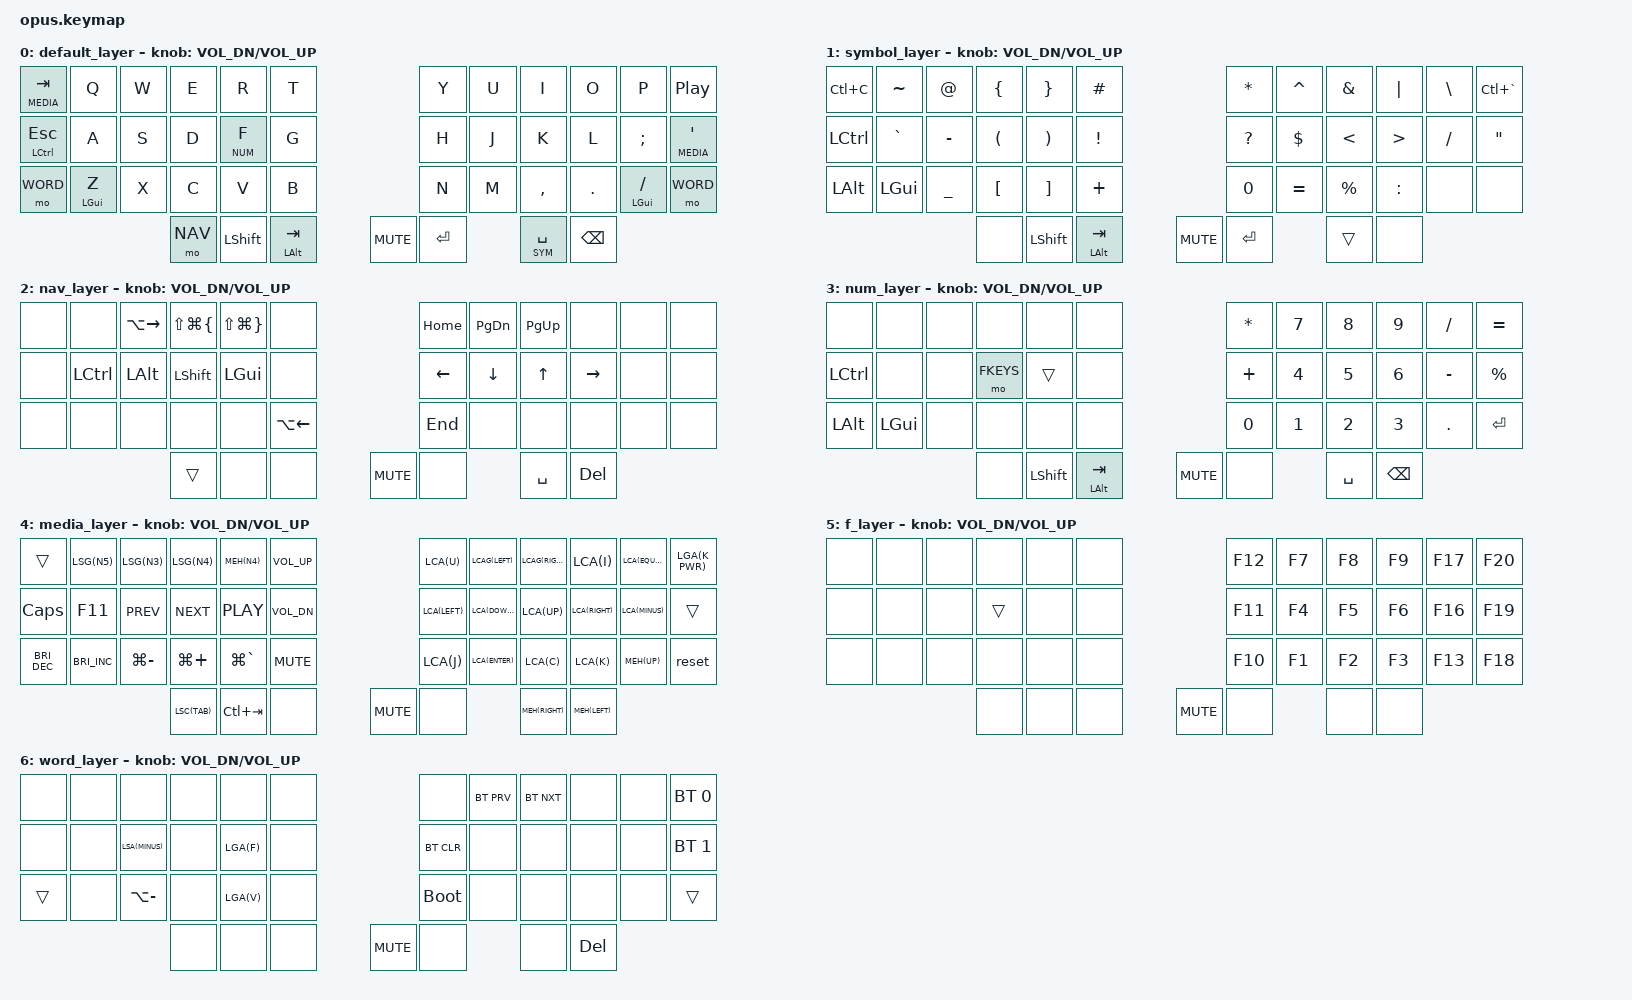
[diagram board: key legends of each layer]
/*
 * Copyright (c) 2020 The ZMK Contributors
 *
 * SPDX-License-Identifier: MIT
 */

#include <behaviors.dtsi>
#include <dt-bindings/zmk/keys.h>
#include <dt-bindings/zmk/bt.h>

#define BASE  0
#define SYM   1
#define NAV   2
#define NUM   3
#define MEDIA 4
#define FKEYS 5
#define WORD  6

// Modifiers
#define LSG(KEY)  LS(LG(KEY))     // shift + gui
#define LSC(KEY)  LS(LC(KEY))     // shift + ctrl
#define LSA(KEY)  LS(LA(KEY))     // shift + alt
#define LCA(KEY)  LC(LA(KEY))     // ctrl + alt
#define LGA(KEY)  LG(LA(KEY))     // gui + alt
#define MEH(KEY)  LS(LC(LA(KEY))) // shift + ctrl + alt
#define LCAG(KEY) LG(LC(LA(KEY))) // ctrl + alt + gui

// Grammar
#define EM_DASH LSA(MINUS)
#define EN_DASH LA(MINUS)
#define COMP_MODE LGA(F)
#define PASTE_STYLE LGA(V)

/ {
    keymap {
        compatible = "zmk,keymap";

        default_layer {
// ---------------------------------------------------------------------------------------------------------------------------------
// |  TAB    |  Q  |  W  |  E   |  R   |  T   |                                          |  Y   |  U    |  I    |  O   |   P   | PLAY |
// | CTL/ESC |  A  |  S  |  D   |  F   |  G   |                                          |  H   |  J    |  K    |  L   |   ;   |   '  |
// |  WORD   |  Z  |  X  |  C   |  V   |  B   |                                          |  N   |  M    |  ,    |  .   |   /   | WORD |
//                                     | NAV  | SHIFT | ALT/TAB  |     | ENTER  | SPACE  | BSPC |
            bindings = <
    &lt MEDIA TAB  &kp Q       &kp W  &kp E  &kp R      &kp T                       &kp Y  &kp U  &kp I      &kp O    &kp P           &kp C_PLAY_PAUSE
    &mt LCTRL ESC  &kp A       &kp S  &kp D  &lt NUM F  &kp G                       &kp H  &kp J  &kp K      &kp L    &kp SEMI        &lt MEDIA SINGLE_QUOTE
    &mo WORD       &mt LGUI Z  &kp X  &kp C  &kp V      &kp B                       &kp N  &kp M  &kp COMMA  &kp DOT  &mt LGUI SLASH  &mo WORD
                                    &mo NAV  &kp LSHFT  &mt LALT TAB   &kp C_MUTE   &kp ENTER  &lt SYM SPACE  &kp BSPC
            >;
            sensor-bindings = <&inc_dec_kp C_VOL_DN C_VOL_UP>;
        };

        symbol_layer {
            bindings = <
    &kp LC(C)  &kp TILDE  &kp AT     &kp LBRC  &kp RBRC  &kp HASH                   &kp STAR   &kp CARET  &kp AMPS   &kp PIPE   &kp BSLH   &kp LC(GRAVE)
    &kp LCTRL  &kp GRAVE   &kp MINUS  &kp LPAR  &kp RPAR  &kp EXCL                   &kp QMARK  &kp DLLR   &kp LT     &kp GT     &kp SLASH  &kp DOUBLE_QUOTES
    &kp LALT   &kp LGUI   &kp UNDER  &kp LBKT  &kp RBKT  &kp PLUS                   &kp N0     &kp EQUAL  &kp PRCNT  &kp COLON  &none      &none
                                        &none &kp LSHFT &mt LALT TAB   &kp C_MUTE   &kp ENTER  &trans  &none
            >;
            sensor-bindings = <&inc_dec_kp C_VOL_DN C_VOL_UP>;
        };

        nav_layer {
            bindings = <
    &none  &none      &kp LA(RIGHT)  &kp LS(LG(LBRC))  &kp LS(LG(RBRC))  &none                        &kp HOME  &kp PG_DN  &kp PG_UP  &none      &none  &none
    &none  &kp LCTRL  &kp LALT       &kp LSHFT         &kp LGUI          &none                        &kp LEFT  &kp DOWN  &kp UP    &kp RIGHT  &none  &none
    &none  &none      &none          &none             &none             &kp LA(LEFT)                 &kp END   &none     &none     &none      &none  &none
                                                                    &trans &none &none   &kp C_MUTE   &none  &kp SPACE  &kp DEL
            >;
            sensor-bindings = <&inc_dec_kp C_VOL_DN C_VOL_UP>;
        };

        num_layer {
            bindings = <
    &none     &none    &none &none     &none  &none                 &kp STAR  &kp N7  &kp N8  &kp N9  &kp SLASH  &kp EQUAL
    &kp LCTRL &none    &none &mo FKEYS &trans &none                 &kp PLUS  &kp N4  &kp N5  &kp N6  &kp MINUS  &kp PRCNT
    &kp LALT  &kp LGUI &none &none     &none  &none                 &kp N0    &kp N1  &kp N2  &kp N3  &kp DOT    &kp ENTER
                        &none &kp LSHFT &mt LALT TAB   &kp C_MUTE   &none   &kp SPACE  &kp BSPC
            >;
            sensor-bindings = <&inc_dec_kp C_VOL_DN C_VOL_UP>;
        };

        media_layer {
            bindings = <
    &trans         &kp LSG(N5)    &kp LSG(N3)    &kp LSG(N4)   &kp MEH(N4)   &kp C_VOL_UP                 &kp LCA(U)     &kp LCAG(LEFT)  &kp LCAG(RIGHT)  &kp LCA(I)      &kp LCA(EQUAL)  &kp LGA(K_PWR)
    &kp CAPS       &kp F11        &kp C_PREV     &kp C_NEXT    &kp C_PLAY    &kp C_VOL_DN                 &kp LCA(LEFT)  &kp LCA(DOWN)   &kp LCA(UP)      &kp LCA(RIGHT)  &kp LCA(MINUS)  &trans
    &kp C_BRI_DEC  &kp C_BRI_INC  &kp LG(MINUS)  &kp LG(PLUS)  &kp LG(GRAVE)  &kp C_MUTE                   &kp LCA(J)     &kp LCA(ENTER)  &kp LCA(C)       &kp LCA(K)      &kp MEH(UP)     &reset
                                                            &kp LSC(TAB) &kp LC(TAB) &none   &kp C_MUTE   &none  &kp MEH(RIGHT)  &kp MEH(LEFT)
            >;
            sensor-bindings = <&inc_dec_kp C_VOL_DN C_VOL_UP>;
        };

        f_layer {
            bindings = <
    &none &none &none &none  &none  &none                &kp F12  &kp F7  &kp F8  &kp F9  &kp F17  &kp F20
    &none &none &none &trans &none  &none                &kp F11  &kp F4  &kp F5  &kp F6  &kp F16  &kp F19
    &none &none &none &none  &none  &none                &kp F10  &kp F1  &kp F2  &kp F3  &kp F13  &kp F18
                        &none &none &none   &kp C_MUTE   &none  &none  &none
            >;
            sensor-bindings = <&inc_dec_kp C_VOL_DN C_VOL_UP>;
        };

        word_layer {
            bindings = <
    &none  &none &none       &none &none            &none                &none        &bt BT_PRV  &bt BT_NXT  &none  &none  &bt BT_SEL 0
    &none  &none &kp EM_DASH &none &kp COMP_MODE    &none                &bt BT_CLR   &none       &none       &none  &none  &bt BT_SEL 1
    &trans &none &kp EN_DASH &none &kp PASTE_STYLE  &none                &bootloader  &none       &none       &none  &none  &trans
                                        &none &none &none   &kp C_MUTE   &none  &none  &kp DEL
            >;
            sensor-bindings = <&inc_dec_kp C_VOL_DN C_VOL_UP>;
        };
    };
};
